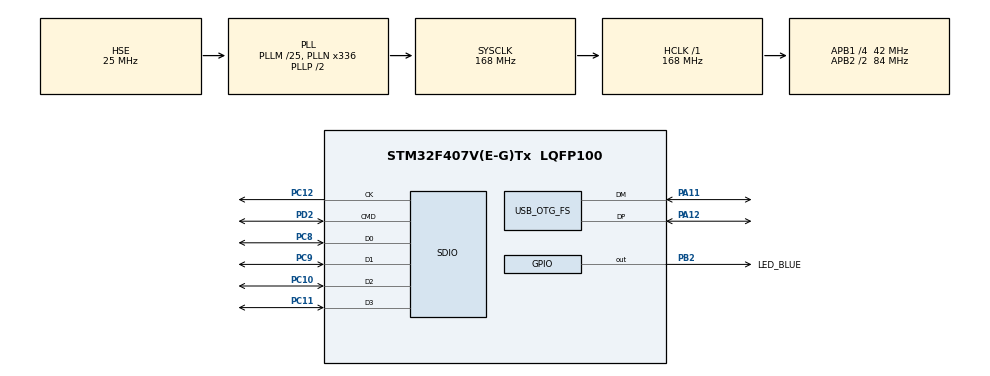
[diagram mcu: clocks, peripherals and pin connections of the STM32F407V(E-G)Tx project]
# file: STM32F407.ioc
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Dma.Request0=SDIO_RX
Dma.Request1=SDIO_TX
Dma.SDIO_RX.0.Direction=DMA_PERIPH_TO_MEMORY
Dma.SDIO_RX.0.FIFOMode=DMA_FIFOMODE_ENABLE
Dma.SDIO_RX.0.FIFOThreshold=DMA_FIFO_THRESHOLD_FULL
Dma.SDIO_RX.0.Instance=DMA2_Stream3
Dma.SDIO_RX.0.MemBurst=DMA_MBURST_INC4
Dma.SDIO_RX.0.MemDataAlignment=DMA_MDATAALIGN_WORD
Dma.SDIO_RX.0.MemInc=DMA_MINC_ENABLE
Dma.SDIO_RX.0.Mode=DMA_PFCTRL
Dma.SDIO_RX.0.PeriphBurst=DMA_PBURST_INC4
Dma.SDIO_RX.0.PeriphDataAlignment=DMA_PDATAALIGN_WORD
Dma.SDIO_RX.0.PeriphInc=DMA_PINC_DISABLE
Dma.SDIO_RX.0.Priority=DMA_PRIORITY_LOW
Dma.SDIO_TX.1.Direction=DMA_MEMORY_TO_PERIPH
Dma.SDIO_TX.1.FIFOMode=DMA_FIFOMODE_ENABLE
Dma.SDIO_TX.1.FIFOThreshold=DMA_FIFO_THRESHOLD_FULL
Dma.SDIO_TX.1.Instance=DMA2_Stream6
Dma.SDIO_TX.1.MemBurst=DMA_MBURST_INC4
Dma.SDIO_TX.1.MemDataAlignment=DMA_MDATAALIGN_WORD
Dma.SDIO_TX.1.MemInc=DMA_MINC_ENABLE
Dma.SDIO_TX.1.Mode=DMA_PFCTRL
Dma.SDIO_TX.1.PeriphBurst=DMA_PBURST_INC4
Dma.SDIO_TX.1.PeriphDataAlignment=DMA_PDATAALIGN_WORD
Dma.SDIO_TX.1.PeriphInc=DMA_PINC_DISABLE
Dma.SDIO_TX.1.Priority=DMA_PRIORITY_LOW
FATFS.USE_DMA_CODE_SD=1
FATFS._CODE_PAGE=936
FATFS._FS_EXFAT=1
FATFS._USE_LFN=2
Mcu.Family=STM32F4
Mcu.Name=STM32F407V(E-G)Tx
Mcu.Package=LQFP100
NVIC.DMA2_Stream3_IRQn=true\:6\:0\:true\:false\:true\:false\:true\:true
NVIC.DMA2_Stream6_IRQn=true\:6\:0\:true\:false\:true\:false\:true\:true
NVIC.OTG_FS_IRQn=true\:7\:0\:true\:false\:true\:false\:true\:true
NVIC.PriorityGroup=NVIC_PRIORITYGROUP_4
NVIC.SDIO_IRQn=true\:5\:0\:true\:false\:true\:true\:true\:true
PA11.Mode=Device_Only
PA11.Signal=USB_OTG_FS_DM
PA12.Mode=Device_Only
PA12.Signal=USB_OTG_FS_DP
PA13.Mode=Serial_Wire
PA13.Signal=SYS_JTMS-SWDIO
PA14.Mode=Serial_Wire
PA14.Signal=SYS_JTCK-SWCLK
PB2.GPIO_Label=LED_BLUE
PB2.Signal=GPIO_Output
PC10.Mode=SD_4_bits_Wide_bus
PC10.Signal=SDIO_D2
PC11.Mode=SD_4_bits_Wide_bus
PC11.Signal=SDIO_D3
PC12.Mode=SD_4_bits_Wide_bus
PC12.Signal=SDIO_CK
PC8.Mode=SD_4_bits_Wide_bus
PC8.Signal=SDIO_D0
PC9.Mode=SD_4_bits_Wide_bus
PC9.Signal=SDIO_D1
PD2.Mode=SD_4_bits_Wide_bus
PD2.Signal=SDIO_CMD
PH0-OSC_IN.Mode=HSE-External-Oscillator
PH0-OSC_IN.Signal=RCC_OSC_IN
PH1-OSC_OUT.Mode=HSE-External-Oscillator
PH1-OSC_OUT.Signal=RCC_OSC_OUT
ProjectManager.HeapSize=0x1000
ProjectManager.StackSize=0x1000
ProjectManager.TargetToolchain=MDK-ARM V5.32
RCC.48MHZClocksFreq_Value=48000000
RCC.AHBFreq_Value=168000000
RCC.APB1CLKDivider=RCC_HCLK_DIV4
RCC.APB1Freq_Value=42000000
RCC.APB1TimFreq_Value=84000000
RCC.APB2CLKDivider=RCC_HCLK_DIV2
RCC.APB2Freq_Value=84000000
RCC.APB2TimFreq_Value=168000000
RCC.CortexFreq_Value=168000000
RCC.HCLKFreq_Value=168000000
RCC.HSE_VALUE=25000000
RCC.HSI_VALUE=16000000
RCC.LSE_VALUE=32768
RCC.PLLM=25
RCC.PLLN=336
RCC.PLLQ=7
RCC.SYSCLKFreq_VALUE=168000000
RCC.SYSCLKSource=RCC_SYSCLKSOURCE_PLLCLK
RCC.VCOOutputFreq_Value=336000000
USB_DEVICE.CLASS_NAME_FS=MSC
USB_DEVICE.MSC_MEDIA_PACKET-MSC_FS=4096
USB_DEVICE.VirtualMode-MSC_FS=Msc
USB_DEVICE.VirtualModeFS=Msc_FS
USB_OTG_FS.Sof_enable=DISABLE
USB_OTG_FS.VirtualMode=Device_Only
USB_OTG_FS.low_power_enable=DISABLE
USB_OTG_FS.lpm_enable=DISABLE
VP_FATFS_VS_SDIO.Mode=SDIO
VP_USB_DEVICE_VS_USB_DEVICE_MSC_FS.Mode=MSC_FS
board=custom

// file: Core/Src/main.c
/* USER CODE BEGIN Header */
/**==================================================================================================================
 ** 【代码编写】  魔女开发板团队
 ** 【淘    宝】  魔女开发板       https://demoboard.taobao.com
 **==================================================================================================================
 ** 【实验名称】   SD卡 FatFs+USB 文件系统读写测试（MSC模拟U盘）
 **
 ** 【适用平台】   STM32F407 + Keil5 + HAL库 + FatFs + USB
 **
 ** 【功能概述】   本程序实现 SD 卡上的 FatFs 文件系统操作，并初始化 USB 设备（Mass Storage Class），使 SD 卡在电脑上模拟为 U 盘。
 **                1. 初始化系统时钟、GPIO、SDIO、DMA、FatFs 及 USB 设备
 **                2. 上电时拉低 PA12（USB D+ 线），释放总线，避免主机提前枚举
 **                3. 挂载 FatFs 文件系统，若无文件系统则自动格式化为 FAT32/exFAT
 **                4. 创建/打开 text.txt 文件，写入测试字符串并读取验证
 **                5. 获取 SD 卡信息（类型、版本、容量等）并通过串口打印
 **                6. 主循环中 LED 周期性闪烁，指示系统运行状态
 **                7. USB 设备初始化完成后，电脑可识别为可移动磁盘，访问 SD 卡内容
 **
 ** 【硬件注意】   1. SD 卡消耗电流较大，建议使用独立电源或开发板主电源供电，避免使用 STLink、JLink、USB 转 TTL 等模块供电
 **                2. SDIO 通信占用 6 个引脚：PC8(CLK)、PC9(CMD)、PC10~12(D0~D3) 和 PD2(D4)，请确保这些引脚未被其他外设占用
 **                3. USB 接口使用 PA11(D-)、PA12(D+)，上电时通过软件拉低 PA12 可避免主机错误枚举
 **                4. 本测试会对 SD 卡中原有数据造成破坏，务必提前备份重要数据
 **
 ** 【CubeMX配置】 1. 在 Connectivity / SDIO 中选择 "SD 4 bits Wide bus"
 **                2. 在 DMA Settings 中添加 SDIO_TX 和 SDIO_RX，并设置合适的优先级
 **                3. 在 Middleware / FATFS 中勾选 SD Card，并配置编码（如简体中文）
 **                4. 在 Middleware / USB_DEVICE 中选择 "Mass Storage Class"，并配置 MSC 参数
 **                5. 注意 CubeMX 代码生成 bug：sdio.c 中的 MX_SDIO_SD_Init() 函数中，hsd.Init.BusWide 会被设置为 SDIO_BUS_WIDE_4B，
 **                   必须手动修改为 SDIO_BUS_WIDE_1B，否则 SD 卡无法正常工作
 **
 ** 【移植说明】   1. 确保目标工程已正确配置 SDIO、DMA、FATFS、USB 及 GPIO
 **                2. 在 main.c 中包含 "bsp_UART.h" 以支持串口调试输出
 **                3. 若使用其他串口，请修改 UART1_Init() 对应的波特率和引脚
 **                4. FatFs 测试函数中使用了静态缓冲区（FATFS、FIL、大数组），可避免栈溢出，移植时无需修改
 **                5. USB 初始化前对 PA12 的处理为必要步骤，可避免主机识别异常
 **
 ** 【测试流程】   本程序按顺序执行以下步骤，结果通过串口输出：
 **                1. 延时 500ms，避免烧录期间多次复位影响测试
 **                2. 挂载 FatFs 文件系统
 **                3. 若无文件系统，则自动格式化为 FAT32/exFAT
 **                4. 创建 text.txt 文件，写入测试字符串
 **                5. 重新打开文件，读取内容并打印验证
 **                6. 获取 SD 卡信息（类型、版本、块数量、块大小、容量）
 **                7. 程序进入主循环，LED 周期性闪烁，USB 设备正常工作
 **
 ** 【调试建议】   1. 测试前备份 SD 卡数据，程序可能格式化整张卡
 **                2. 若挂载失败，检查 SDIO 引脚连接及供电是否充足
 **                3. 注意 CubeMX 生成的 SDIO 初始化代码中的总线宽度错误，必须手动修正
 **                4. 若 USB 无法识别，检查 PA12 上电拉低处理是否正确，以及 USB 线缆连接
 **                5. 使用串口助手观察输出，根据错误编号（FRESULT）定位文件系统问题
 **                6. 若写入/读取数据异常，检查 DMA 传输完成回调是否正常执行
 **
 ** 【更新记录】   2024-02-19  优化代码结构，增加 USB 初始化前 PA12 处理
 **                2024-02-17  从标准库迁移至 HAL 库，增加 FatFs 和 USB 支持
 **
 ** 【备注说明】   版权归魔女科技所有，仅供学习使用，请勿用于商业用途。
 **                https://demoboard.taobao.com
 **
==================================================================================================================**/
/* USER CODE END Header */
#include "main.h"
#include "dma.h"
#include "fatfs.h"
#include "sdio.h"
#include "usb_device.h"
#include "gpio.h"

/* USER CODE BEGIN Includes */
#include "bsp_UART.h"

/* USER CODE END Includes */

void SystemClock_Config(void);

/* USER CODE BEGIN 0 */
// 所用用户代码，必须写在配对的BEGIN与END注释之间，否则重新生成时会被自动删除

// SD卡的FatFS文件系统操作
// 示例如何用代码：挂载、格式化、读文件、写文件
void FatFsTest(void)
{
    static FATFS myFatFs;                                                 // FatFs 文件系统对象; 这个结构体占用598字节，有点大，需用static修饰(存放在全局数据区), 避免stack溢出
    static FIL myFile;                                                    // 文件对象; 这个结构体占用570字节，有点大，需用static修饰(存放在全局数据区), 避免stack溢出
    static FRESULT f_res;                                                 // 文件操作结果
    static uint32_t num;                                                  // 文件实际成功读写的字节数
    static uint8_t aReadData[1024] = { 0 };                               // 读取缓冲区; 这个数组占用1024字节，需用static修饰(存放在全局数据区), 避免stack溢出
    static uint8_t aWriteBuf[] =  "测试; This is FatFs Test ! \r\n";      // 要写入的数据

    // 重要的延时：避免烧录期间的复位导致文件读写、格式化等错误
    HAL_Delay(500);                                                       // 重要：稍作延时再开始读写测试; 避免有些仿真器烧录期间的多次复位，短暂运行了程序，导致下列读写数据不完整。

    // 1、挂载测试：在SD卡挂载文件系统
    printf("\r\n\r\n");
    printf("1、挂载 FatFs 测试 ****** \r\n");
    f_res = f_mount(&myFatFs, "0:", 1);                                   // 在SD卡上挂载文件系统; 参数：文件系统对象、驱动器路径、读写模式(0只读、1读写)
    if (f_res == FR_NO_FILESYSTEM)                                        // 检查是否已有文件系统，如果没有，就格式化创建创建文件系统
    {
        printf("SD卡没有文件系统，开始格式化…...\r\n");
        static uint8_t aMountBuffer[4096];                                // 格式化时所需的临时缓存; 块大小512的倍数; 值越大格式化越快, 如果内存不够，可改为512或者1024; 当需要在函数内定义这种大缓存时，要用static修饰，令缓存存放在全局数据区内，不然，可能会导致stack溢出。
        f_res = f_mkfs("0:", 0, 0, aMountBuffer, sizeof(aMountBuffer));   // 格式化SD卡; 参数：驱动器、文件系统(0-自动\1-FAT12\2-FAT16\3-FAT32\4-exFat)、簇大小(0为自动选择)、格式化临时缓冲区、缓冲区大小; 格式化前必须先f_mount(x,x,1)挂载，即必须用读写方式挂载; 如果SD卡已格式化，f_mkfs()的第2个参数，不能用0自动，必须指定某个文件系统。
        if (f_res == FR_OK)                                               // 格式化 成功
        {
            printf("SD卡格式化：成功 \r\n");
            f_res = f_mount(NULL, "0:", 1);                               // 格式化后，先取消挂载
            f_res = f_mount(&myFatFs, "0:", 1);                           // 重新挂载
            if (f_res == FR_OK)
                printf("FatFs 挂载成功 \r\n");                            // 挂载成功
            else
                return;                                                   // 挂载失败，退出函数
        }
        else
        {
            printf("SD卡格式化：失败 \r\n");                              // 格式化 失败
            return;
        }
    }
    else if (f_res != FR_OK)                                              // 挂载异常
    {
        printf("FatFs 挂载异常; 错误码: %d \r\n", f_res);
        printf("检查文件 sd_diskio.c 的 MX_SDIO_SD_Init() 函数，是否已修改为1B \r\n");
        return;
    }
    else                                                                  // 挂载成功
    {
        if (myFatFs.fs_type == 0x03)                                      // FAT32; 1-FAT12、2-FAT16、3-FAT32、4-exFat
            printf("SD卡已有文件系统：FAT32\n");
        if (myFatFs.fs_type == 0x04)                                      // exFAT; 1-FAT12、2-FAT16、3-FAT32、4-exFat
            printf("SD卡已有文件系统：exFAT\n");
        printf("FatFs 挂载成功 \r\n");                                    // 挂载成功
    }

    // 2、写入测试：打开或创建文件，并写入数据
    printf("\r\n");
    printf("2、写入测试：打开或创建文件，并写入数据 ****** \r\n");
    f_res = f_open(&myFile, "0:text.txt", FA_CREATE_ALWAYS | FA_WRITE);   // 打开文件; 参数：要操作的文件对象、路径和文件名称、打开模式;
    if (f_res == FR_OK)
    {
        printf("打开文件 成功 \r\n");
        printf("写入测试：");
        f_res = f_write(&myFile, aWriteBuf, sizeof(aWriteBuf), &num);     // 向文件内写入数据; 参数：文件对象、数据缓存、申请写入的字节数、实际写入的字节数
        if (f_res == FR_OK)
        {
            printf("写入成功  \r\n");
            printf("已写入字节数：%d \r\n", num);                         // printf 写入的字节数
            printf("已写入的数据：%s \r\n", aWriteBuf);                   // printf 写入的数据; 注意，这里以字符串方式显示，如果数据是非ASCII可显示范围，则无法显示
        }
        else
        {
            printf("写入失败 \r\n");                                      // 写入失败
            printf("错误编号： %d\r\n", f_res);                           // printf 错误编号
        }
        f_close(&myFile);                                                 // 不再读写，关闭文件
    }
    else
    {
        printf("打开文件 失败: %d\r\n", f_res);
    }

    // 3、读取测试：打开已有文件，读取其数据
    printf("3、读取测试：打开刚才的文件，读取其数据 ****** \r\n");
    f_res = f_open(&myFile, "0:text.txt", FA_OPEN_EXISTING | FA_READ);    // 打开文件; 参数：文件对象、路径和名称、操作模式; FA_OPEN_EXISTING：只打开已存在的文件; FA_READ: 以只读的方式打开文件
    if (f_res == FR_OK)
    {
        printf("打开文件 成功 \r\n");
        f_res = f_read(&myFile, aReadData, sizeof(aReadData), &num);      // 从文件中读取数据; 参数：文件对象、数据缓冲区、请求读取的最大字节数、实际读取的字节数
        if (f_res == FR_OK)
        {
            printf("读取数据 成功 \r\n");
            printf("已读取字节数：%d \r\n", num);                         // printf 实际读取的字节数
            printf("读取到的数据：%s\r\n", aReadData);                    // printf 实际数据; 注意，这里以字符串方式显示，如果数据是非ASCII可显示范围，则无法显示
        }
        else
        {
            printf("读取 失败  \r\n");                                    // printf 读取失败
            printf("错误编号：%d \r\n", f_res);                           // printf 错误编号
        }
    }
    else
    {
        printf("打开文件 失败 \r\n");                                     // printf 打开文件 失败
        printf("错误编号：%d\r\n", f_res);                                // printf 错误编号
    }

    f_close(&myFile);                                                     // 不再读写，关闭文件
    f_mount(NULL, "0:", 1);                                               // 不再使用文件系统，取消挂载文件系统
}

// 获取SD卡信息
// 注意: 本函数需要在f_mount()执行后再调用，因为CubeMX生成的FatFs代码, 会在f_mount()函数内对SD卡进行初始化
void SDCardInfo(void)
{
    HAL_SD_CardInfoTypeDef pCardInfo = {0};                    // SD卡信息结构体
    uint8_t status = HAL_SD_GetCardState(&hsd);                // SD卡状态标志值
    if (status == HAL_SD_CARD_TRANSFER)
    {
        HAL_SD_GetCardInfo(&hsd, &pCardInfo);                  // 获取 SD 卡的信息
        printf("\r\n");
        printf("*** 获取SD卡信息 *** \r\n");
        printf("卡类型：%d \r\n", pCardInfo.CardType);         // 类型返回：0-SDSC、1-SDHC/SDXC、3-SECURED
        printf("卡版本：%d \r\n", pCardInfo.CardVersion);      // 版本返回：0-CARD_V1、1-CARD_V2
        printf("块数量：%d \r\n", pCardInfo.BlockNbr);         // 可用的块数量
        printf("块大小：%d \r\n", pCardInfo.BlockSize);        // 每个块的大小; 单位：字节
        printf("卡容量：%lluG \r\n", ((uint64_t)pCardInfo.BlockSize * pCardInfo.BlockNbr) / 1024 / 1024 / 1024);  // 计算卡的容量; 单位：GB
    }
}

/* USER CODE END 0 */

int main(void)
{

    /* USER CODE BEGIN 1 */

    /* 说明：
     * 1. 不要删除CubeMX生成的注释行（形如 USER CODE BEGIN/END），这些注释用于代码重新生成时的定位
     * 2. 所有用户自定义代码必须写在对应的BEGIN与END注释行之间，否则重新生成时会被覆盖
     * 3. 主要初始化函数说明：
     *    - HAL_Init()            初始化HAL库，配置中断优先级、系统时基等
     *    - SystemClock_Config()  配置系统时钟
     *    - MX_GPIO_Init()        初始化GPIO引脚（仅包含推挽输出、中断触发等配置）
     *    - 外设功能引脚（如UART、SPI等）的初始化在各自的功能文件中
     */

    /* USER CODE END 1 */

    /* MCU Configuration--------------------------------------------------------*/

    /* Reset of all peripherals, Initializes the Flash interface and the Systick. */
    HAL_Init();

    /* Configure the system clock */
    SystemClock_Config();

    /* USER CODE BEGIN SysInit */
    // 用户代码，必须写在配对的注释间，否则重新生成时会被删除

    // 上电后，先把PA12(D+线)置低，令USB主机认为设备已断开
    // 避免电脑USB主机发起枚举要求，等后面初始化时再置高
    __HAL_RCC_GPIOA_CLK_ENABLE();                           // 使能GPIOA
    GPIO_InitTypeDef    GPIO_InitStruct = {0};              // 初始化结构体
    GPIO_InitStruct.Pin   = GPIO_PIN_12;                    // 引脚
    GPIO_InitStruct.Mode  = GPIO_MODE_OUTPUT_PP;            // 工作模式:推挽输出
    GPIO_InitStruct.Speed = GPIO_SPEED_FREQ_VERY_HIGH;      // 引脚速率
    HAL_GPIO_Init(GPIOA, &GPIO_InitStruct);                 // 初始化

    HAL_GPIO_WritePin(GPIOA, GPIO_PIN_12, GPIO_PIN_RESET);  // PA12(D+线)置低电平：令电脑USB主机认为设备已断开，释放端口

    /* USER CODE END SysInit */

    /* Initialize all configured peripherals */
    MX_GPIO_Init();
    MX_DMA_Init();
    MX_SDIO_SD_Init();
    MX_FATFS_Init();
    MX_USB_DEVICE_Init();
    /* USER CODE BEGIN 2 */
    // 所用用户代码，必须写在配对的BEGIN与END注释之间，否则重新生成时会被自动删除

    UART1_Init(115200);        // 串口1初始化，用于printf调试信息到串口助手

    FatFsTest();               // FatFs文件系统挂载、初始化、文件读写

    SDCardInfo();              // 获取SD卡信息，并输出到串口助手

    /* USER CODE END 2 */

    /* Infinite loop */
    while (1)
    {

        /* USER CODE BEGIN 3 */
        HAL_Delay(500);
        HAL_GPIO_TogglePin(GPIOB, GPIO_PIN_2);
    }
    /* USER CODE END 3 */
}

void SystemClock_Config(void)
{
    RCC_OscInitTypeDef RCC_OscInitStruct = {0};
    RCC_ClkInitTypeDef RCC_ClkInitStruct = {0};

    /** Configure the main internal regulator output voltage
    */
    __HAL_RCC_PWR_CLK_ENABLE();
    __HAL_PWR_VOLTAGESCALING_CONFIG(PWR_REGULATOR_VOLTAGE_SCALE1);

    /** Initializes the RCC Oscillators according to the specified parameters
    * in the RCC_OscInitTypeDef structure.
    */
    RCC_OscInitStruct.OscillatorType = RCC_OSCILLATORTYPE_HSE;
    RCC_OscInitStruct.HSEState = RCC_HSE_ON;
    RCC_OscInitStruct.PLL.PLLState = RCC_PLL_ON;
    RCC_OscInitStruct.PLL.PLLSource = RCC_PLLSOURCE_HSE;
    RCC_OscInitStruct.PLL.PLLM = 25;
    RCC_OscInitStruct.PLL.PLLN = 336;
    RCC_OscInitStruct.PLL.PLLP = RCC_PLLP_DIV2;
    RCC_OscInitStruct.PLL.PLLQ = 7;
    if (HAL_RCC_OscConfig(&RCC_OscInitStruct) != HAL_OK)
    {
        Error_Handler();
    }

    /** Initializes the CPU, AHB and APB buses clocks
    */
    RCC_ClkInitStruct.ClockType = RCC_CLOCKTYPE_HCLK | RCC_CLOCKTYPE_SYSCLK
                                  | RCC_CLOCKTYPE_PCLK1 | RCC_CLOCKTYPE_PCLK2;
    RCC_ClkInitStruct.SYSCLKSource = RCC_SYSCLKSOURCE_PLLCLK;
    RCC_ClkInitStruct.AHBCLKDivider = RCC_SYSCLK_DIV1;
    RCC_ClkInitStruct.APB1CLKDivider = RCC_HCLK_DIV4;
    RCC_ClkInitStruct.APB2CLKDivider = RCC_HCLK_DIV2;

    if (HAL_RCC_ClockConfig(&RCC_ClkInitStruct, FLASH_LATENCY_5) != HAL_OK)
    {
        Error_Handler();
    }
}

void Error_Handler(void)
{
    __disable_irq();
    while (1)
    {
    }
}
